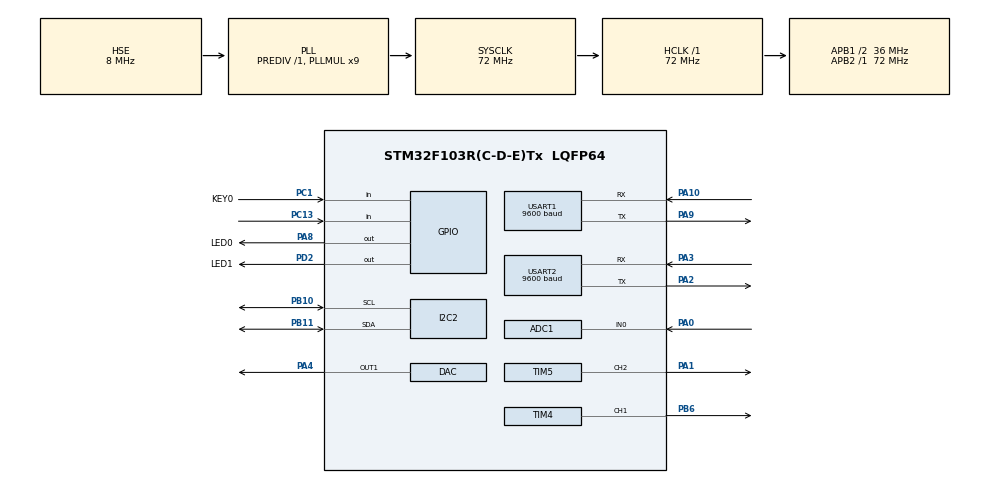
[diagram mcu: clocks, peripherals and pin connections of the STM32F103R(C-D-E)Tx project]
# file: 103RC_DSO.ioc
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ADC1.Channel-0\#ChannelRegularConversion=ADC_CHANNEL_0
ADC1.ContinuousConvMode=DISABLE
ADC1.ExternalTrigConv=ADC_EXTERNALTRIGCONV_T3_TRGO
ADC1.NbrOfConversionFlag=1
ADC1.Rank-0\#ChannelRegularConversion=1
ADC1.SamplingTime-0\#ChannelRegularConversion=ADC_SAMPLETIME_13CYCLES_5
ADC1.master=1
DAC.DAC_OutputBuffer=DAC_OUTPUTBUFFER_ENABLE
DAC.DAC_Trigger=DAC_TRIGGER_T2_TRGO
Dma.ADC1.1.Direction=DMA_PERIPH_TO_MEMORY
Dma.ADC1.1.Instance=DMA1_Channel1
Dma.ADC1.1.MemDataAlignment=DMA_MDATAALIGN_WORD
Dma.ADC1.1.MemInc=DMA_MINC_ENABLE
Dma.ADC1.1.Mode=DMA_CIRCULAR
Dma.ADC1.1.PeriphDataAlignment=DMA_PDATAALIGN_WORD
Dma.ADC1.1.PeriphInc=DMA_PINC_DISABLE
Dma.ADC1.1.Priority=DMA_PRIORITY_LOW
Dma.DAC_CH1.0.Direction=DMA_MEMORY_TO_PERIPH
Dma.DAC_CH1.0.Instance=DMA2_Channel3
Dma.DAC_CH1.0.MemDataAlignment=DMA_MDATAALIGN_HALFWORD
Dma.DAC_CH1.0.MemInc=DMA_MINC_ENABLE
Dma.DAC_CH1.0.Mode=DMA_CIRCULAR
Dma.DAC_CH1.0.PeriphDataAlignment=DMA_PDATAALIGN_HALFWORD
Dma.DAC_CH1.0.PeriphInc=DMA_PINC_DISABLE
Dma.DAC_CH1.0.Priority=DMA_PRIORITY_VERY_HIGH
Dma.Request0=DAC_CH1
Dma.Request1=ADC1
Dma.Request2=USART1_TX
Dma.USART1_TX.2.Direction=DMA_MEMORY_TO_PERIPH
Dma.USART1_TX.2.Instance=DMA1_Channel4
Dma.USART1_TX.2.MemDataAlignment=DMA_MDATAALIGN_BYTE
Dma.USART1_TX.2.MemInc=DMA_MINC_ENABLE
Dma.USART1_TX.2.Mode=DMA_NORMAL
Dma.USART1_TX.2.PeriphDataAlignment=DMA_PDATAALIGN_BYTE
Dma.USART1_TX.2.PeriphInc=DMA_PINC_DISABLE
Dma.USART1_TX.2.Priority=DMA_PRIORITY_LOW
Mcu.Family=STM32F1
Mcu.Name=STM32F103R(C-D-E)Tx
Mcu.Package=LQFP64
NVIC.DMA1_Channel1_IRQn=true\:0\:0\:false\:false\:true\:false\:true\:true
NVIC.DMA1_Channel4_IRQn=true\:0\:0\:false\:false\:true\:false\:true\:true
NVIC.DMA2_Channel3_IRQn=true\:0\:0\:false\:false\:true\:false\:true\:true
NVIC.PriorityGroup=NVIC_PRIORITYGROUP_4
NVIC.TIM4_IRQn=true\:0\:0\:false\:false\:true\:true\:true\:true
NVIC.TIM5_IRQn=true\:0\:0\:false\:false\:true\:true\:true\:true
NVIC.USART1_IRQn=true\:1\:0\:true\:false\:true\:true\:true\:true
NVIC.USART2_IRQn=true\:0\:0\:false\:false\:true\:true\:true\:true
PA0-WKUP.Signal=ADCx_IN0
PA1.Signal=S_TIM5_CH2
PA10.Mode=Asynchronous
PA10.Signal=USART1_RX
PA13.Mode=Serial_Wire
PA13.Signal=SYS_JTMS-SWDIO
PA14.Mode=Serial_Wire
PA14.Signal=SYS_JTCK-SWCLK
PA2.Mode=Asynchronous
PA2.Signal=USART2_TX
PA3.Mode=Asynchronous
PA3.Signal=USART2_RX
PA4.Signal=COMP_DAC1_group
PA8.GPIO_Label=LED0
PA8.Signal=GPIO_Output
PA9.Mode=Asynchronous
PA9.Signal=USART1_TX
PB10.Mode=I2C
PB10.Signal=I2C2_SCL
PB11.Mode=I2C
PB11.Signal=I2C2_SDA
PB6.Signal=S_TIM4_CH1
PC1.GPIO_Label=KEY0
PC1.Signal=GPIO_Input
PC13-TAMPER-RTC.Signal=GPIO_Input
PD0-OSC_IN.Mode=HSE-External-Oscillator
PD0-OSC_IN.Signal=RCC_OSC_IN
PD1-OSC_OUT.Mode=HSE-External-Oscillator
PD1-OSC_OUT.Signal=RCC_OSC_OUT
PD2.GPIO_Label=LED1
PD2.Signal=GPIO_Output
ProjectManager.HeapSize=0x200
ProjectManager.StackSize=0x400
ProjectManager.TargetToolchain=MDK-ARM V5.32
RCC.ADCPresc=RCC_ADCPCLK2_DIV6
RCC.AHBFreq_Value=72000000
RCC.APB1CLKDivider=RCC_HCLK_DIV2
RCC.APB1Freq_Value=36000000
RCC.APB1TimFreq_Value=72000000
RCC.APB2Freq_Value=72000000
RCC.APB2TimFreq_Value=72000000
RCC.HCLKFreq_Value=72000000
RCC.PLLMUL=RCC_PLL_MUL9
RCC.PLLSourceVirtual=RCC_PLLSOURCE_HSE
RCC.SYSCLKFreq_VALUE=72000000
RCC.SYSCLKSource=RCC_SYSCLKSOURCE_PLLCLK
RCC.USBFreq_Value=72000000
SH.ADCx_IN0.0=ADC1_IN0,IN0
SH.COMP_DAC1_group.0=DAC_OUT1,DAC_OUT1
SH.S_TIM4_CH1.0=TIM4_CH1,PWM Generation1 CH1
SH.S_TIM5_CH2.0=TIM5_CH2,PWM Generation2 CH2
TIM2.AutoReloadPreload=TIM_AUTORELOAD_PRELOAD_ENABLE
TIM2.CounterMode=TIM_COUNTERMODE_UP
TIM2.Period=19
TIM2.Prescaler=71
TIM2.TIM_MasterOutputTrigger=TIM_TRGO_UPDATE
TIM3.AutoReloadPreload=TIM_AUTORELOAD_PRELOAD_ENABLE
TIM3.Period=99
TIM3.Prescaler=71
TIM3.TIM_MasterOutputTrigger=TIM_TRGO_UPDATE
TIM4.AutoReloadPreload=TIM_AUTORELOAD_PRELOAD_ENABLE
TIM4.Channel-PWM\ Generation1\ CH1=TIM_CHANNEL_1
TIM4.Period=3999
TIM4.Prescaler=71
TIM4.Pulse-PWM\ Generation1\ CH1=2000
TIM5.Channel-PWM\ Generation2\ CH2=TIM_CHANNEL_2
TIM5.Period=2000
TIM5.Prescaler=72
TIM5.Pulse-PWM\ Generation2\ CH2=1000
USART1.BaudRate=9600
USART1.VirtualMode=VM_ASYNC
USART2.BaudRate=9600
USART2.VirtualMode=VM_ASYNC
VP_TIM2_VS_ClockSourceINT.Mode=Internal
VP_TIM3_VS_ClockSourceINT.Mode=Internal
VP_TIM4_VS_ClockSourceINT.Mode=Internal
VP_TIM5_VS_ClockSourceINT.Mode=Internal
board=custom

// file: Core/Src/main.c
/* USER CODE BEGIN Header */
/**
  ******************************************************************************
  * @file           : main.c
  * @brief          : Main program body
  ******************************************************************************
  * @attention
  *
  * <h2><center>&copy; Copyright (c) 2022 STMicroelectronics.
  * All rights reserved.</center></h2>
  *
  * This software component is licensed by ST under BSD 3-Clause license,
  * the "License"; You may not use this file except in compliance with the
  * License. You may obtain a copy of the License at:
  *                        opensource.org/licenses/BSD-3-Clause
  *
  ******************************************************************************
  */
/* USER CODE END Header */
#include "main.h"
#include "adc.h"
#include "dac.h"
#include "dma.h"
#include "i2c.h"
#include "tim.h"
#include "usart.h"
#include "gpio.h"

/* USER CODE BEGIN Includes */
#include "string.h"
#include "Global_IT.h"
#include "oled.h"
#include "stm32_dsp.h"
#include "USART_IT.h"
/* USER CODE END Includes */

/* USER CODE BEGIN PV */
uint16_t DAC_values[100] = { 2010, 2136, 2261, 2386, 2509, 2631, 2749, 2865, 2978, 3087, 3191, 3291, 3385, 3475, 3558,
                            3636, 3707, 3771, 3828, 3878, 3921, 3956, 3984, 4004, 4016, 4019, 4016, 4004, 3984, 3956,
                            3921, 3878, 3828, 3771, 3707, 3636, 3558, 3475, 3385, 3291, 3191, 3087, 2978, 2865, 2749,
                            2631, 2509, 2386, 2261, 2136, 2010, 1883, 1758, 1633, 1510, 1388, 1270, 1154, 1041, 932,
                            828, 728, 634, 544, 461, 383, 312, 248, 191, 141, 98, 63, 35, 15, 3, 0, 3, 15, 35, 63, 98,
                            141, 191, 248, 312, 383, 461, 544, 634, 728, 828, 932, 1041, 1154, 1270, 1388, 1510, 1633,
                            1758, 1883 };

uint8_t sinTableLX[384] = { 64,67,70,73,76,79,82,85,88,91,94,97,99,102,104,107,109,111,113,115,117,119,120,122,123,124,125,126,126,127,127,127,127,127,127,127,126,125,124,123,122,121,119,118,116,114,112,110,108,106,103,101,98,95,92,90,87,84,81,78,75,71,68,65,62,59,56,52,49,46,43,40,37,35,32,29,26,24,21,19,17,15,13,11,9,8,6,5,4,3,2,1,0,0,0,0,0,0,0,1,1,2,3,4,5,7,8,10,12,14,16,18,20,23,25,28,30,33,36,39,42,45,48,51,54,57,60,63,64,67,70,73,76,79,82,85,88,91,94,97,99,102,104,107,109,111,113,115,117,119,120,122,123,124,125,126,126,127,127,127,127,127,127,127,126,125,124,123,122,121,119,118,116,114,112,110,108,106,103,101,98,95,92,90,87,84,81,78,75,71,68,65,62,59,56,52,49,46,43,40,37,35,32,29,26,24,21,19,17,15,13,11,9,8,6,5,4,3,2,1,0,0,0,0,0,0,0,1,1,2,3,4,5,7,8,10,12,14,16,18,20,23,25,28,30,33,36,39,42,45,48,51,54,57,60,63,64,67,70,73,76,79,82,85,88,91,94,97,99,102,104,107,109,111,113,115,117,119,120,122,123,124,125,126,126,127,127,127,127,127,127,127,126,125,124,123,122,121,119,118,116,114,112,110,108,106,103,101,98,95,92,90,87,84,81,78,75,71,68,65,62,59,56,52,49,46,43,40,37,35,32,29,26,24,21,19,17,15,13,11,9,8,6,5,4,3,2,1,0,0,0,0,0,0,0,1,1,2,3,4,5,7,8,10,12,14,16,18,20,23,25,28,30,33,36,39,42,45,48,51,54,57,60,63 };

uint32_t ADC_Values[1024];//储存ADC数据
uint8_t aRxBuffer[2];
uint8_t uartWavStr[1000];
uint8_t* rxPtr;
uint8_t rxFlg;
uint8_t rxStr[200];
extern uint8_t stopADC;
DataCTL uiDtc;
extern I2C_HandleTypeDef hi2c1;

//short save_statue = 0;

/* USER CODE END PV */

void SystemClock_Config(void);
/* USER CODE BEGIN PFP */
/*void HAL_ADC_ConvCpltCallback(ADC_HandleTypeDef* hadc)//ADC转换完成回调函数
{
  static uint32_t i = 0;//函数内部计数
  if (i < 1500)
  {
    ADC_values[i] = HAL_ADC_GetValue(&hadc1);
    if (i == 499)
    {
      save_statue = 1;//计数为1，告诉主函数发送前半段
      i++;
    }
    else if (i == 999)
    {
      save_statue = 2;//计数为2，告诉主函数发送后半段
      i = 0;
    }

    else i++;
  }
}*/
/* USER CODE END PFP */

int main(void)
{

  /* MCU Configuration--------------------------------------------------------*/

  /* Reset of all peripherals, Initializes the Flash interface and the Systick. */
  HAL_Init();

  /* Configure the system clock */
  SystemClock_Config();

  /* Initialize all configured peripherals */
  MX_GPIO_Init();
  MX_DMA_Init();
  MX_DAC_Init();
  MX_ADC1_Init();
  MX_TIM3_Init();
  MX_USART1_UART_Init();
  MX_TIM2_Init();
  MX_TIM4_Init();
  MX_I2C2_Init();
  MX_TIM5_Init();
  MX_USART2_UART_Init();
  /* USER CODE BEGIN 2 */
  OLED_Init();
  OLED_Clear();
  OLED_ShowString(0, 0, "PrePare2ShowF&Vpp", 16);

  Init_DataCTL();

  rxPtr = rxStr;
  //printf("HelloWorld!\xff\xff\xff");
  sprintf(uartWavStr, "addt 1,0,320\xff\xff\xff");
  for (int i = 0; i < 320; i++)
    strcat(uartWavStr, "\xfe");
  strcat(uartWavStr, "\xff\xff\xff");
  //printf("%s", uartWavStr);

  //HAL_ADC_Start_IT(&hadc1);

  HAL_UART_Receive_IT(&huart2, aRxBuffer, 1);

  HAL_TIM_Base_Start_IT(&htim4);
  HAL_TIM_PWM_Start(&htim4, TIM_CHANNEL_1);

  HAL_TIM_Base_Start_IT(&htim5);
  HAL_TIM_PWM_Start(&htim5, TIM_CHANNEL_2);

  HAL_TIM_Base_Start(&htim2);//DAC计时
  HAL_DAC_Start_DMA(&hdac, DAC1_CHANNEL_1, (uint32_t*)DAC_values, 100, DAC_ALIGN_12B_R);
  HAL_TIM_Base_Start(&htim3);//ADC开始计时
  HAL_ADC_Start_DMA(&hadc1, ADC_Values, 1024);

  unsigned long int num = 0;
  /* USER CODE END 2 */

  /* Infinite loop */
  while (1) {

    /* USER CODE BEGIN 3 */
    if (uiDtc.Reset == 1) {
      uiDtc.Reset = 0;
      __set_FAULTMASK(1);
      HAL_NVIC_SystemReset();
    }
    //		if(stopADC){
    //    HAL_UART_Receive_IT(&huart1, aRxBuffer, 1);
    //		}
            /*if (save_statue == 1)
            {
              for (short i = 0;i < 500;i++)
              {
                sprintf(text, "%ld,%hu\r\n", num * 1, ADC_values[i]);
                HAL_UART_Transmit(&huart1, text, strlen(text), 100);
                num++;
              }
              if (save_statue == 1) save_statue = 0;
            }
            else if (save_statue == 2)
            {
              for (short i = 500;i < 1000;i++)
              {
                sprintf(text, "%ld,%hu\r\n", num * 1, ADC_values[i]);
                HAL_UART_Transmit(&huart1, text, strlen(text), 100);
                num++;
              }
              if (save_statue == 2) save_statue = 0;
            }

          }*/
  }
  /* USER CODE END 3 */
}

void SystemClock_Config(void)
{
  RCC_OscInitTypeDef RCC_OscInitStruct = {0};
  RCC_ClkInitTypeDef RCC_ClkInitStruct = {0};
  RCC_PeriphCLKInitTypeDef PeriphClkInit = {0};

  /** Initializes the RCC Oscillators according to the specified parameters
  * in the RCC_OscInitTypeDef structure.
  */
  RCC_OscInitStruct.OscillatorType = RCC_OSCILLATORTYPE_HSE;
  RCC_OscInitStruct.HSEState = RCC_HSE_ON;
  RCC_OscInitStruct.HSEPredivValue = RCC_HSE_PREDIV_DIV1;
  RCC_OscInitStruct.HSIState = RCC_HSI_ON;
  RCC_OscInitStruct.PLL.PLLState = RCC_PLL_ON;
  RCC_OscInitStruct.PLL.PLLSource = RCC_PLLSOURCE_HSE;
  RCC_OscInitStruct.PLL.PLLMUL = RCC_PLL_MUL9;
  if (HAL_RCC_OscConfig(&RCC_OscInitStruct) != HAL_OK)
  {
    Error_Handler();
  }

  /** Initializes the CPU, AHB and APB buses clocks
  */
  RCC_ClkInitStruct.ClockType = RCC_CLOCKTYPE_HCLK|RCC_CLOCKTYPE_SYSCLK
                              |RCC_CLOCKTYPE_PCLK1|RCC_CLOCKTYPE_PCLK2;
  RCC_ClkInitStruct.SYSCLKSource = RCC_SYSCLKSOURCE_PLLCLK;
  RCC_ClkInitStruct.AHBCLKDivider = RCC_SYSCLK_DIV1;
  RCC_ClkInitStruct.APB1CLKDivider = RCC_HCLK_DIV2;
  RCC_ClkInitStruct.APB2CLKDivider = RCC_HCLK_DIV1;

  if (HAL_RCC_ClockConfig(&RCC_ClkInitStruct, FLASH_LATENCY_2) != HAL_OK)
  {
    Error_Handler();
  }
  PeriphClkInit.PeriphClockSelection = RCC_PERIPHCLK_ADC;
  PeriphClkInit.AdcClockSelection = RCC_ADCPCLK2_DIV6;
  if (HAL_RCCEx_PeriphCLKConfig(&PeriphClkInit) != HAL_OK)
  {
    Error_Handler();
  }
}

void Error_Handler(void)
{
}
